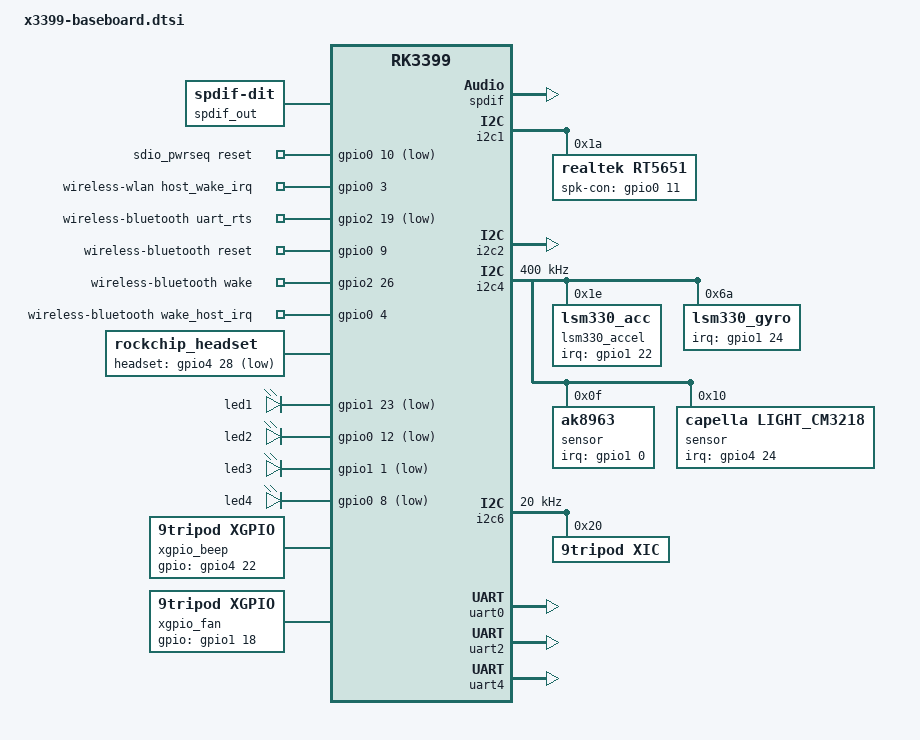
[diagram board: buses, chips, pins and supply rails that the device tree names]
/*
 * Copyright (c) 2016 Fuzhou Rockchip Electronics Co., Ltd
 *
 * This file is dual-licensed: you can use it either under the terms
 * of the GPL or the X11 license, at your option. Note that this dual
 * licensing only applies to this file, and not this project as a
 * whole.
 *
 *  a) This file is free software; you can redistribute it and/or
 *     modify it under the terms of the GNU General Public License as
 *     published by the Free Software Foundation; either version 2 of the
 *     License, or (at your option) any later version.
 *
 *     This file is distributed in the hope that it will be useful,
 *     but WITHOUT ANY WARRANTY; without even the implied warranty of
 *     MERCHANTABILITY or FITNESS FOR A PARTICULAR PURPOSE.  See the
 *     GNU General Public License for more details.
 *
 * Or, alternatively,
 *
 *  b) Permission is hereby granted, free of charge, to any person
 *     obtaining a copy of this software and associated documentation
 *     files (the "Software"), to deal in the Software without
 *     restriction, including without limitation the rights to use,
 *     copy, modify, merge, publish, distribute, sublicense, and/or
 *     sell copies of the Software, and to permit persons to whom the
 *     Software is furnished to do so, subject to the following
 *     conditions:
 *
 *     The above copyright notice and this permission notice shall be
 *     included in all copies or substantial portions of the Software.
 *
 *     THE SOFTWARE IS PROVIDED "AS IS", WITHOUT WARRANTY OF ANY KIND,
 *     EXPRESS OR IMPLIED, INCLUDING BUT NOT LIMITED TO THE WARRANTIES
 *     OF MERCHANTABILITY, FITNESS FOR A PARTICULAR PURPOSE AND
 *     NONINFRINGEMENT. IN NO EVENT SHALL THE AUTHORS OR COPYRIGHT
 *     HOLDERS BE LIABLE FOR ANY CLAIM, DAMAGES OR OTHER LIABILITY,
 *     WHETHER IN AN ACTION OF CONTRACT, TORT OR OTHERWISE, ARISING
 *     FROM, OUT OF OR IN CONNECTION WITH THE SOFTWARE OR THE USE OR
 *     OTHER DEALINGS IN THE SOFTWARE.
 */

#include <dt-bindings/sensor-dev.h>
#include <dt-bindings/pwm/pwm.h>
#include "x3399-core.dtsi"

/ {
	compatible = "9tripod,x3399-baseboard", "rockchip,rk3399";

	rt5651-sound {
		compatible = "simple-audio-card";
		simple-audio-card,format = "i2s";
		simple-audio-card,name = "realtek,rt5651-codec";
		simple-audio-card,mclk-fs = <256>;
		simple-audio-card,widgets =
			"Microphone", "Mic Jack",
			"Headphone", "Headphone Jack";
		simple-audio-card,routing =
			"Mic Jack", "MICBIAS1",
			"IN1P", "Mic Jack",
			"Headphone Jack", "HPOL",
			"Headphone Jack", "HPOR";
		simple-audio-card,cpu {
			sound-dai = <&i2s0>;
		};
		simple-audio-card,codec {
			sound-dai = <&rt5651>;
		};
	};

	spdif-sound {
		status = "okay";
		compatible = "simple-audio-card";
		simple-audio-card,name = "ROCKCHIP,SPDIF";
		simple-audio-card,cpu {
			sound-dai = <&spdif>;
		};
		simple-audio-card,codec {
			sound-dai = <&spdif_out>;
		};
	};

	spdif_out: spdif-out {
		status = "okay";
		compatible = "linux,spdif-dit";
		#sound-dai-cells = <0>;
	};

	dw_hdmi_audio: dw-hdmi-audio {
		status = "disabled";
		compatible = "rockchip,dw-hdmi-audio";
		#sound-dai-cells = <0>;
	};

	hdmi_sound: hdmi-sound {
		status = "disabled";
		compatible = "simple-audio-card";
		simple-audio-card,format = "i2s";
		simple-audio-card,mclk-fs = <256>;
		simple-audio-card,name = "rockchip,hdmi";

		simple-audio-card,cpu {
			sound-dai = <&i2s2>;
		};
		simple-audio-card,codec {
			sound-dai = <&hdmi>;
		};
	};

	sdio_pwrseq: sdio-pwrseq {
		compatible = "mmc-pwrseq-simple";
		clocks = <&rk808 1>;
		clock-names = "ext_clock";
		pinctrl-names = "default";
		pinctrl-0 = <&wifi_enable_h>;

		/*
		 * On the module itself this is one of these (depending
		 * on the actual card populated):
		 * - SDIO_RESET_L_WL_REG_ON
		 * - PDN (power down when low)
		 */
		reset-gpios = <&gpio0 10 GPIO_ACTIVE_LOW>; /* GPIO0_B2 */
	};

	wireless-wlan {
		compatible = "wlan-platdata";
		rockchip,grf = <&grf>;
		wifi_chip_type = "ap6356";
		sdio_vref = <1800>;
		WIFI,host_wake_irq = <&gpio0 3 GPIO_ACTIVE_HIGH>; /* GPIO0_a3 */
		status = "okay";
	};

	wireless-bluetooth {
		compatible = "bluetooth-platdata";
		clocks = <&rk808 1>;
		clock-names = "ext_clock";
		//wifi-bt-power-toggle;
		uart_rts_gpios = <&gpio2 19 GPIO_ACTIVE_LOW>; /* GPIO2_C3 */
		pinctrl-names = "default", "rts_gpio";
		pinctrl-0 = <&uart0_rts>;
		pinctrl-1 = <&uart0_gpios>;
		//BT,power_gpio  = <&gpio3 19 GPIO_ACTIVE_HIGH>; /* GPIOx_xx */
		BT,reset_gpio    = <&gpio0 9 GPIO_ACTIVE_HIGH>; /* GPIO0_B1 */
		BT,wake_gpio     = <&gpio2 26 GPIO_ACTIVE_HIGH>; /* GPIO2_D2 */
		BT,wake_host_irq = <&gpio0 4 GPIO_ACTIVE_HIGH>; /* GPIO0_A4 */
		status = "okay";
	};
	
	hall_sensor: hall-mh248 {
		compatible = "hall-mh248";
		pinctrl-names = "default";
		pinctrl-0 = <&mh248_irq_gpio>;
		irq-gpio = <&gpio0 13 IRQ_TYPE_EDGE_BOTH>;
		hall-active = <1>;
		status = "disabled";
	};

	rockchip_headset {
		compatible = "rockchip_headset";
		pinctrl-names = "default";
		pinctrl-0 = <&headset_gpio>;
		headset_gpio = <&gpio4 28 GPIO_ACTIVE_LOW>;
		rockchip,headset_wakeup = <0>;
		status = "okay";
	};

	leds {
		compatible = "gpio-leds";

		led@1 {
			pinctrl-names = "default";
			pinctrl-0 = <&led1_ctl>;
			label = "led1";
			gpios = <&gpio1 23 GPIO_ACTIVE_LOW>;
			linux,default-trigger = "heartbeat";
			default-state = "off";
		};
		
		led@2 {
			pinctrl-names = "default";
			pinctrl-0 = <&led2_ctl>;
			label = "led2";
			gpios = <&gpio0 12 GPIO_ACTIVE_LOW>;
			default-state = "off";
		};

		led@3 {
			pinctrl-names = "default";
			pinctrl-0 = <&led3_ctl>;
			label = "led3";
			gpios = <&gpio1 1 GPIO_ACTIVE_LOW>;
			default-state = "off";
		};
		
		led@4 {
			pinctrl-names = "default";
			pinctrl-0 = <&led4_ctl>;
			label = "led4";
			gpios = <&gpio0 8 GPIO_ACTIVE_LOW>;
			default-state = "off";
		};
	};
	
	xgpio_beep {
		compatible = "9tripod,xgpio";
		pinctrl-names = "default";
		pinctrl-0 = <&beep_gpio>;
		gpio = <&gpio4 22 GPIO_ACTIVE_HIGH>;
		status = "okay";
	};
	
	xgpio_fan {
		compatible = "9tripod,xgpio";
		pinctrl-names = "default";
		pinctrl-0 = <&fan_gpio>;
		gpio = <&gpio1 18 GPIO_ACTIVE_HIGH>;
		status = "okay";
	};
};

&spdif {
	status = "okay";
	pinctrl-0 = <&spdif_bus>;
	i2c-scl-rising-time-ns = <450>;
	i2c-scl-falling-time-ns = <15>;
	#sound-dai-cells = <0>;
};

&i2c1 {
	status = "okay";
	i2c-scl-rising-time-ns = <300>;
	i2c-scl-falling-time-ns = <15>;

	rt5651: rt5651@1a {
		#sound-dai-cells = <0>;
		compatible = "realtek,rt5651";
		reg = <0x1a>;
		clocks = <&cru SCLK_I2S_8CH_OUT>;
		clock-names = "mclk";
		spk-con-gpio = <&gpio0 11 GPIO_ACTIVE_HIGH>;
	};
};

&i2c2 {
    status = "okay";
};

&i2c4 {
	status = "okay";
	i2c-scl-rising-time-ns = <600>;
	i2c-scl-falling-time-ns = <20>;
	clock-frequency = <400000>;

	lsm330_accel@1e {
		status = "okay";
		compatible = "lsm330_acc";
		pinctrl-names = "default";
		pinctrl-0 = <&lsm330a_irq_gpio>;
		reg = <0x1e>;
		irq-gpio = <&gpio1 22 IRQ_TYPE_EDGE_RISING>;
		type = <SENSOR_TYPE_ACCEL>;
		irq_enable = <0>;
		poll_delay_ms = <30>;
		layout = <4>;
	};

	lsm330_gyro@6a {
		status = "okay";
		compatible = "lsm330_gyro";
		pinctrl-names = "default";
		pinctrl-0 = <&lsm330g_irq_gpio>;
		reg = <0x6a>;
		irq-gpio = <&gpio1 24 IRQ_TYPE_EDGE_RISING>;
		type = <SENSOR_TYPE_GYROSCOPE>;
		irq_enable = <0>;
		poll_delay_ms = <30>;
	};
	
	sensor@0f {
		status = "okay";
		compatible = "ak8963";
		pinctrl-names = "default";
		pinctrl-0 = <&ak8963_irq_gpio>;
		reg = <0x0f>;
		type = <SENSOR_TYPE_COMPASS>;
		irq-gpio = <&gpio1 0 IRQ_TYPE_EDGE_RISING>;
		irq_enable = <0>;
		poll_delay_ms = <30>;
		layout = <3>;
	};

	sensor@10 {
		status = "okay";
		compatible = "capella,light_cm3218";
		pinctrl-names = "default";
		pinctrl-0 = <&cm3218_irq_gpio>;
		reg = <0x10>;
		type = <SENSOR_TYPE_LIGHT>;
		irq-gpio = <&gpio4 24 IRQ_TYPE_EDGE_FALLING>;
		irq_enable = <1>;
		poll_delay_ms = <30>;
	};
};

&i2c6 {
    status = "okay";
    i2c-scl-rising-time-ns = <345>;
    i2c-scl-falling-time-ns = <11>;
    clock-frequency = <20000>;

	xic@20 {
		compatible = "9tripod,xic";
		reg = <0x20>;
	};
};

&uart0 {
	pinctrl-names = "default";
	pinctrl-0 = <&uart0_xfer &uart0_cts>;
	status = "okay";
};

&uart2 {
	status = "okay";
};

&uart4 {
	status = "okay";
};

&rockchip_suspend {
	status = "okay";
	rockchip,sleep-debug-en = <0>;
	rockchip,sleep-mode-config = <
		(0
		| RKPM_SLP_ARMPD
		| RKPM_SLP_PERILPPD
		| RKPM_SLP_DDR_RET
		| RKPM_SLP_PLLPD
		| RKPM_SLP_CENTER_PD
		| RKPM_SLP_AP_PWROFF
		)
		>;
	rockchip,wakeup-config = <
		(0
		| RKPM_GPIO_WKUP_EN
		)
		>;
		rockchip,pwm-regulator-config = <
		(0
		| PWM2_REGULATOR_EN
		)
		>;
		rockchip,power-ctrl =
		<&gpio1 17 GPIO_ACTIVE_HIGH>,
		<&gpio1 14 GPIO_ACTIVE_HIGH>;
};

&pinctrl {
	sdio-pwrseq {
		wifi_enable_h: wifi-enable-h {
			rockchip,pins =
				<0 10 RK_FUNC_GPIO &pcfg_pull_none>;
		};
	};

	wireless-bluetooth {
		uart0_gpios: uart0-gpios {
			rockchip,pins =
				<2 19 RK_FUNC_GPIO &pcfg_pull_none>;
		};
	};

	lsm330_a {
		lsm330a_irq_gpio: lsm330a-irq-gpio {
			rockchip,pins = <1 22 RK_FUNC_GPIO &pcfg_pull_none>;
		};
	};

	lsm330_g {
		lsm330g_irq_gpio: lsm330g-irq-gpio {
			rockchip,pins = <1 24 RK_FUNC_GPIO &pcfg_pull_none>;
		};
	};

	ak8963 {
		ak8963_irq_gpio: ak8963-irq-gpio {
			rockchip,pins = <1 0 RK_FUNC_GPIO &pcfg_pull_none>;
		};
	};

	cm3218 {
		cm3218_irq_gpio: cm3218-irq-gpio {
			rockchip,pins = <4 24 RK_FUNC_GPIO &pcfg_pull_up>;
		};
	};

	hallsensor {
		mh248_irq_gpio: mh248-irq-gpio {
			rockchip,pins = <0 13 RK_FUNC_GPIO &pcfg_pull_none>;
		};
	};
	
	rockchip_headset {
		headset_gpio: headset-gpio {
			rockchip,pins = <4 28 RK_FUNC_GPIO &pcfg_pull_none>;
		};
	};
	
	leds {
		led1_ctl: led1-ctl {
			rockchip,pins = <1 23 RK_FUNC_GPIO &pcfg_pull_up>;
		};
		led2_ctl: led2-ctl {
			rockchip,pins = <0 12 RK_FUNC_GPIO &pcfg_pull_up>;
		};
		led3_ctl: led3-ctl {
			rockchip,pins = <1 1 RK_FUNC_GPIO &pcfg_pull_up>;
		};
		led4_ctl: led4-ctl {
			rockchip,pins = <0 8 RK_FUNC_GPIO &pcfg_pull_up>;
		};
	};

	xgpio_beep {
		beep_gpio: beep-gpio {
			rockchip,pins = <4 22 RK_FUNC_GPIO &pcfg_pull_up>;
		};
	};
	
	xgpio_fan {
		fan_gpio: fan-gpio {
			rockchip,pins = <1 18 RK_FUNC_GPIO &pcfg_pull_up>;
		};
	};
};
